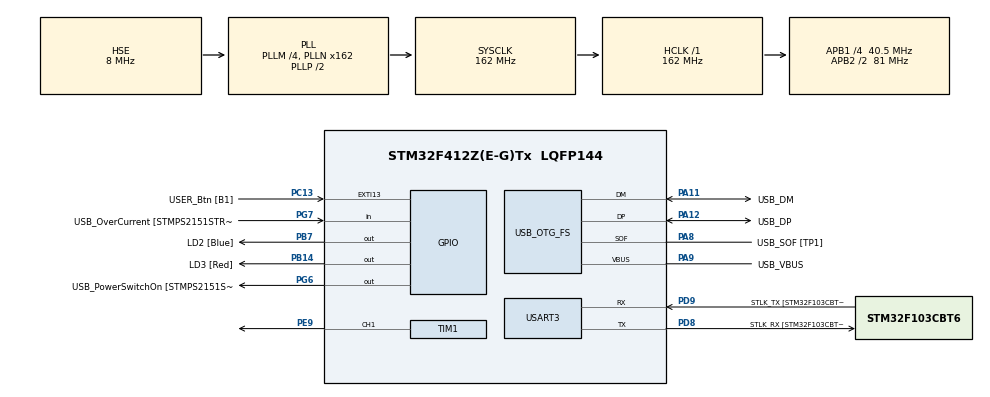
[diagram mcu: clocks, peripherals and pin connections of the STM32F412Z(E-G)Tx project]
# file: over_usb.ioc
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Mcu.Family=STM32F4
Mcu.Name=STM32F412Z(E-G)Tx
Mcu.Package=LQFP144
NVIC.OTG_FS_IRQn=true\:0\:0\:false\:false\:true\:false
NVIC.PriorityGroup=NVIC_PRIORITYGROUP_4
NVIC.TIM1_UP_TIM10_IRQn=true\:2\:0\:true\:false\:true\:true
PA10.GPIO_Label=USB_ID
PA10.Signal=USB_OTG_FS_ID
PA11.GPIO_Label=USB_DM
PA11.Mode=Device_Only
PA11.Signal=USB_OTG_FS_DM
PA12.GPIO_Label=USB_DP
PA12.Mode=Device_Only
PA12.Signal=USB_OTG_FS_DP
PA13.GPIO_Label=TMS
PA13.Mode=Serial_Wire
PA13.Signal=SYS_JTMS-SWDIO
PA14.GPIO_Label=TCK
PA14.Mode=Serial_Wire
PA14.Signal=SYS_JTCK-SWCLK
PA8.GPIO_Label=USB_SOF [TP1]
PA8.Mode=Activate_SOF_FS
PA8.Signal=USB_OTG_FS_SOF
PA9.GPIO_Label=USB_VBUS
PA9.Mode=Activate_VBUS
PA9.Signal=USB_OTG_FS_VBUS
PB14.GPIO_Label=LD3 [Red]
PB14.Signal=GPIO_Output
PB3.GPIO_Label=SWO
PB3.Signal=SYS_JTDO-SWO
PB7.GPIO_Label=LD2 [Blue]
PB7.Signal=GPIO_Output
PC13.GPIO_Label=USER_Btn [B1]
PC13.Signal=GPXTI13
PC14-OSC32_IN.Mode=LSE-External-Oscillator
PC14-OSC32_IN.Signal=RCC_OSC32_IN
PC15-OSC32_OUT.Mode=LSE-External-Oscillator
PC15-OSC32_OUT.Signal=RCC_OSC32_OUT
PD8.GPIO_Label=STLK_RX [STM32F103CBT6_PA3]
PD8.Mode=Asynchronous
PD8.Signal=USART3_TX
PD9.GPIO_Label=STLK_TX [STM32F103CBT6_PA2]
PD9.Mode=Asynchronous
PD9.Signal=USART3_RX
PE9.Signal=S_TIM1_CH1
PG6.GPIO_Label=USB_PowerSwitchOn [STMPS2151STR_EN]
PG6.Signal=GPIO_Output
PG7.GPIO_Label=USB_OverCurrent [STMPS2151STR_FAULT]
PG7.Signal=GPIO_Input
PH0\ -\ OSC_IN.GPIO_Label=MCO
PH0\ -\ OSC_IN.Mode=HSE-External-Clock-Source
PH0\ -\ OSC_IN.Signal=RCC_OSC_IN
PH1\ -\ OSC_OUT.Mode=HSE-External-Clock-Source
PH1\ -\ OSC_OUT.Signal=RCC_OSC_OUT
ProjectManager.HeapSize=0x600
ProjectManager.StackSize=0x800
ProjectManager.TargetToolchain=MDK-ARM V5
RCC.48MHZClocksFreq_Value=24000000
RCC.AHBFreq_Value=162000000
RCC.APB1CLKDivider=RCC_HCLK_DIV4
RCC.APB1Freq_Value=40500000
RCC.APB1TimFreq_Value=81000000
RCC.APB2CLKDivider=RCC_HCLK_DIV2
RCC.APB2Freq_Value=81000000
RCC.APB2TimFreq_Value=162000000
RCC.CortexFreq_Value=162000000
RCC.HCLKFreq_Value=162000000
RCC.HSE_VALUE=8000000
RCC.HSI_VALUE=16000000
RCC.PLLI2SM=4
RCC.PLLI2SN=72
RCC.PLLI2SQ=3
RCC.PLLM=4
RCC.PLLMUL=RCC_PLL_MUL9
RCC.PLLN=162
RCC.PLLQ=8
RCC.PLLSourceVirtual=RCC_PLLSOURCE_HSE
RCC.PRESCALERUSB=RCC_USBCLKSOURCE_PLL_DIV1_5
RCC.SYSCLKFreq_VALUE=162000000
RCC.SYSCLKSource=RCC_SYSCLKSOURCE_PLLCLK
RCC.SYSCLKSourceVirtual=RCC_SYSCLKSOURCE_PLLCLK
RCC.USBCLockSelection=RCC_CLK48CLKSOURCE_PLLI2SQ
RCC.USBFreq_Value=48000000
RCC.VCOOutputFreq_Value=324000000
SH.S_TIM1_CH1.0=TIM1_CH1,PWM Generation1 CH1
TIM1.Channel-PWM\ Generation1\ CH1=TIM_CHANNEL_1
TIM1.Period=4999
TIM1.Prescaler=16199
TIM1.Pulse-PWM\ Generation1\ CH1=2499
USART3.VirtualMode=VM_ASYNC
USB_DEVICE.CLASS_NAME_FS=CDC
USB_DEVICE.VirtualMode=Cdc
USB_DEVICE.VirtualModeFS=Cdc_FS
USB_OTG_FS.VirtualMode=Device_Only
VP_TIM1_VS_ClockSourceINT.Mode=Internal
VP_USB_DEVICE_VS_USB_DEVICE_CDC_FS.Mode=CDC_FS
board=NUCLEO-F412ZG

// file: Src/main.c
/**
  ******************************************************************************
  * @file           : main.c
  * @brief          : Main program body
  ******************************************************************************
  * This notice applies to any and all portions of this file
  * that are not between comment pairs USER CODE BEGIN and
  * USER CODE END. Other portions of this file, whether
  * inserted by the user or by software development tools
  * are owned by their respective copyright owners.
  *
  * Copyright (c) 2018 STMicroelectronics International N.V.
  * All rights reserved.
  *
  * Redistribution and use in source and binary forms, with or without
  * modification, are permitted, provided that the following conditions are met:
  *
  * 1. Redistribution of source code must retain the above copyright notice,
  *    this list of conditions and the following disclaimer.
  * 2. Redistributions in binary form must reproduce the above copyright notice,
  *    this list of conditions and the following disclaimer in the documentation
  *    and/or other materials provided with the distribution.
  * 3. Neither the name of STMicroelectronics nor the names of other
  *    contributors to this software may be used to endorse or promote products
  *    derived from this software without specific written permission.
  * 4. This software, including modifications and/or derivative works of this
  *    software, must execute solely and exclusively on microcontroller or
  *    microprocessor devices manufactured by or for STMicroelectronics.
  * 5. Redistribution and use of this software other than as permitted under
  *    this license is void and will automatically terminate your rights under
  *    this license.
  *
  * THIS SOFTWARE IS PROVIDED BY STMICROELECTRONICS AND CONTRIBUTORS "AS IS"
  * AND ANY EXPRESS, IMPLIED OR STATUTORY WARRANTIES, INCLUDING, BUT NOT
  * LIMITED TO, THE IMPLIED WARRANTIES OF MERCHANTABILITY, FITNESS FOR A
  * PARTICULAR PURPOSE AND NON-INFRINGEMENT OF THIRD PARTY INTELLECTUAL PROPERTY
  * RIGHTS ARE DISCLAIMED TO THE FULLEST EXTENT PERMITTED BY LAW. IN NO EVENT
  * SHALL STMICROELECTRONICS OR CONTRIBUTORS BE LIABLE FOR ANY DIRECT, INDIRECT,
  * INCIDENTAL, SPECIAL, EXEMPLARY, OR CONSEQUENTIAL DAMAGES (INCLUDING, BUT NOT
  * LIMITED TO, PROCUREMENT OF SUBSTITUTE GOODS OR SERVICES; LOSS OF USE, DATA,
  * OR PROFITS; OR BUSINESS INTERRUPTION) HOWEVER CAUSED AND ON ANY THEORY OF
  * LIABILITY, WHETHER IN CONTRACT, STRICT LIABILITY, OR TORT (INCLUDING
  * NEGLIGENCE OR OTHERWISE) ARISING IN ANY WAY OUT OF THE USE OF THIS SOFTWARE,
  * EVEN IF ADVISED OF THE POSSIBILITY OF SUCH DAMAGE.
  *
  ******************************************************************************
  */
#include "main.h"
#include "stm32f4xx_hal.h"
#include "usb_device.h"

/* USER CODE BEGIN Includes */
#include "string.h"
#include "usbd_cdc_if.h"
/* USER CODE END Includes */

TIM_HandleTypeDef htim1;

UART_HandleTypeDef huart3;

/* USER CODE BEGIN PV */
/* Private variables ---------------------------------------------------------*/

/* USER CODE END PV */

void SystemClock_Config(void);
static void MX_GPIO_Init(void);
static void MX_USART3_UART_Init(void);
static void MX_TIM1_Init(void);
void HAL_TIM_MspPostInit(TIM_HandleTypeDef *htim);

/* USER CODE BEGIN PFP */
/* Private function prototypes -----------------------------------------------*/

/* USER CODE END PFP */

/* USER CODE BEGIN 0 */
/*
#ifdef __GNUC__
 #define PUTCHAR_PROTOTYPE int __io_putchar(int ch)
#else
 #define PUTCHAR_PROTOTYPE int fputc(int ch, FILE *f)
#endif

PUTCHAR_PROTOTYPE
{
 HAL_UART_Transmit(&huart3, (uint8_t *)&ch, 1, 1);
 return ch;
}
*/
#ifdef __GNUC__
 #define PUTCHAR_PROTOTYPE int __io_putchar(int ch)
#else
 #define PUTCHAR_PROTOTYPE int fputc(int ch, FILE *f)
#endif

PUTCHAR_PROTOTYPE
{
 while(CDC_Transmit_FS((uint8_t *)&ch, 1) == USBD_BUSY);
 return ch;
}

void HAL_TIM_PeriodElapsedCallback(TIM_HandleTypeDef *htim)
{
  /* Prevent unused argument(s) compilation warning */
    if (htim->Instance == TIM1)
    {
            HAL_GPIO_TogglePin(LD2_GPIO_Port,LD2_Pin);
    }
/*    else if (htim->Instance == TIM2)
    {
    }
        */
}
/* USER CODE END 0 */

int main(void)
{

  /* MCU Configuration----------------------------------------------------------*/

  /* Reset of all peripherals, Initializes the Flash interface and the Systick. */
  HAL_Init();

  /* Configure the system clock */
  SystemClock_Config();

  /* Initialize all configured peripherals */
  MX_GPIO_Init();
  MX_USART3_UART_Init();
  MX_USB_DEVICE_Init();
  MX_TIM1_Init();
  /* USER CODE BEGIN 2 */
  HAL_TIM_Base_Start_IT(&htim1);

  /* USER CODE END 2 */

  /* Infinite loop */
  /* USER CODE BEGIN WHILE */
  while (1)
  {
        printf("hclk 162MHz USB CDC Test\r\n");
        HAL_Delay(500);

  /* USER CODE END WHILE */

  }

}

void SystemClock_Config(void)
{

  RCC_OscInitTypeDef RCC_OscInitStruct;
  RCC_ClkInitTypeDef RCC_ClkInitStruct;
  RCC_PeriphCLKInitTypeDef PeriphClkInitStruct;

    /**Configure the main internal regulator output voltage
    */
  __HAL_RCC_PWR_CLK_ENABLE();

  __HAL_PWR_VOLTAGESCALING_CONFIG(PWR_REGULATOR_VOLTAGE_SCALE1);

    /**Initializes the CPU, AHB and APB busses clocks
    */
  RCC_OscInitStruct.OscillatorType = RCC_OSCILLATORTYPE_HSE;
  RCC_OscInitStruct.HSEState = RCC_HSE_BYPASS;
  RCC_OscInitStruct.PLL.PLLState = RCC_PLL_ON;
  RCC_OscInitStruct.PLL.PLLSource = RCC_PLLSOURCE_HSE;
  RCC_OscInitStruct.PLL.PLLM = 4;
  RCC_OscInitStruct.PLL.PLLN = 162;
  RCC_OscInitStruct.PLL.PLLP = RCC_PLLP_DIV2;
  RCC_OscInitStruct.PLL.PLLQ = 8;
  RCC_OscInitStruct.PLL.PLLR = 2;
  if (HAL_RCC_OscConfig(&RCC_OscInitStruct) != HAL_OK)
  {
    _Error_Handler(__FILE__, __LINE__);
  }

    /**Initializes the CPU, AHB and APB busses clocks
    */
  RCC_ClkInitStruct.ClockType = RCC_CLOCKTYPE_HCLK|RCC_CLOCKTYPE_SYSCLK
                              |RCC_CLOCKTYPE_PCLK1|RCC_CLOCKTYPE_PCLK2;
  RCC_ClkInitStruct.SYSCLKSource = RCC_SYSCLKSOURCE_PLLCLK;
  RCC_ClkInitStruct.AHBCLKDivider = RCC_SYSCLK_DIV1;
  RCC_ClkInitStruct.APB1CLKDivider = RCC_HCLK_DIV4;
  RCC_ClkInitStruct.APB2CLKDivider = RCC_HCLK_DIV2;

  if (HAL_RCC_ClockConfig(&RCC_ClkInitStruct, FLASH_LATENCY_3) != HAL_OK)
  {
    _Error_Handler(__FILE__, __LINE__);
  }

  PeriphClkInitStruct.PeriphClockSelection = RCC_PERIPHCLK_CLK48;
  PeriphClkInitStruct.PLLI2S.PLLI2SN = 72;
  PeriphClkInitStruct.PLLI2S.PLLI2SM = 4;
  PeriphClkInitStruct.PLLI2S.PLLI2SR = 2;
  PeriphClkInitStruct.PLLI2S.PLLI2SQ = 3;
  PeriphClkInitStruct.Clk48ClockSelection = RCC_CLK48CLKSOURCE_PLLI2SQ;
  PeriphClkInitStruct.PLLI2SSelection = RCC_PLLI2SCLKSOURCE_PLLSRC;
  if (HAL_RCCEx_PeriphCLKConfig(&PeriphClkInitStruct) != HAL_OK)
  {
    _Error_Handler(__FILE__, __LINE__);
  }

    /**Configure the Systick interrupt time
    */
  HAL_SYSTICK_Config(HAL_RCC_GetHCLKFreq()/1000);

    /**Configure the Systick
    */
  HAL_SYSTICK_CLKSourceConfig(SYSTICK_CLKSOURCE_HCLK);

  /* SysTick_IRQn interrupt configuration */
  HAL_NVIC_SetPriority(SysTick_IRQn, 0, 0);
}

/* TIM1 init function */
static void MX_TIM1_Init(void)
{

  TIM_ClockConfigTypeDef sClockSourceConfig;
  TIM_MasterConfigTypeDef sMasterConfig;
  TIM_OC_InitTypeDef sConfigOC;
  TIM_BreakDeadTimeConfigTypeDef sBreakDeadTimeConfig;

  htim1.Instance = TIM1;
  htim1.Init.Prescaler = 16199;
  htim1.Init.CounterMode = TIM_COUNTERMODE_UP;
  htim1.Init.Period = 4999;
  htim1.Init.ClockDivision = TIM_CLOCKDIVISION_DIV1;
  htim1.Init.RepetitionCounter = 0;
  if (HAL_TIM_Base_Init(&htim1) != HAL_OK)
  {
    _Error_Handler(__FILE__, __LINE__);
  }

  sClockSourceConfig.ClockSource = TIM_CLOCKSOURCE_INTERNAL;
  if (HAL_TIM_ConfigClockSource(&htim1, &sClockSourceConfig) != HAL_OK)
  {
    _Error_Handler(__FILE__, __LINE__);
  }

  if (HAL_TIM_PWM_Init(&htim1) != HAL_OK)
  {
    _Error_Handler(__FILE__, __LINE__);
  }

  sMasterConfig.MasterOutputTrigger = TIM_TRGO_RESET;
  sMasterConfig.MasterSlaveMode = TIM_MASTERSLAVEMODE_DISABLE;
  if (HAL_TIMEx_MasterConfigSynchronization(&htim1, &sMasterConfig) != HAL_OK)
  {
    _Error_Handler(__FILE__, __LINE__);
  }

  sConfigOC.OCMode = TIM_OCMODE_PWM1;
  sConfigOC.Pulse = 2499;
  sConfigOC.OCPolarity = TIM_OCPOLARITY_HIGH;
  sConfigOC.OCNPolarity = TIM_OCNPOLARITY_HIGH;
  sConfigOC.OCFastMode = TIM_OCFAST_DISABLE;
  sConfigOC.OCIdleState = TIM_OCIDLESTATE_RESET;
  sConfigOC.OCNIdleState = TIM_OCNIDLESTATE_RESET;
  if (HAL_TIM_PWM_ConfigChannel(&htim1, &sConfigOC, TIM_CHANNEL_1) != HAL_OK)
  {
    _Error_Handler(__FILE__, __LINE__);
  }

  sBreakDeadTimeConfig.OffStateRunMode = TIM_OSSR_DISABLE;
  sBreakDeadTimeConfig.OffStateIDLEMode = TIM_OSSI_DISABLE;
  sBreakDeadTimeConfig.LockLevel = TIM_LOCKLEVEL_OFF;
  sBreakDeadTimeConfig.DeadTime = 0;
  sBreakDeadTimeConfig.BreakState = TIM_BREAK_DISABLE;
  sBreakDeadTimeConfig.BreakPolarity = TIM_BREAKPOLARITY_HIGH;
  sBreakDeadTimeConfig.AutomaticOutput = TIM_AUTOMATICOUTPUT_DISABLE;
  if (HAL_TIMEx_ConfigBreakDeadTime(&htim1, &sBreakDeadTimeConfig) != HAL_OK)
  {
    _Error_Handler(__FILE__, __LINE__);
  }

  HAL_TIM_MspPostInit(&htim1);

}

/* USART3 init function */
static void MX_USART3_UART_Init(void)
{

  huart3.Instance = USART3;
  huart3.Init.BaudRate = 115200;
  huart3.Init.WordLength = UART_WORDLENGTH_8B;
  huart3.Init.StopBits = UART_STOPBITS_1;
  huart3.Init.Parity = UART_PARITY_NONE;
  huart3.Init.Mode = UART_MODE_TX_RX;
  huart3.Init.HwFlowCtl = UART_HWCONTROL_NONE;
  huart3.Init.OverSampling = UART_OVERSAMPLING_16;
  if (HAL_UART_Init(&huart3) != HAL_OK)
  {
    _Error_Handler(__FILE__, __LINE__);
  }

}

/** Configure pins as
        * Analog
        * Input
        * Output
        * EVENT_OUT
        * EXTI
*/
static void MX_GPIO_Init(void)
{

  GPIO_InitTypeDef GPIO_InitStruct;

  /* GPIO Ports Clock Enable */
  __HAL_RCC_GPIOC_CLK_ENABLE();
  __HAL_RCC_GPIOH_CLK_ENABLE();
  __HAL_RCC_GPIOE_CLK_ENABLE();
  __HAL_RCC_GPIOB_CLK_ENABLE();
  __HAL_RCC_GPIOD_CLK_ENABLE();
  __HAL_RCC_GPIOG_CLK_ENABLE();
  __HAL_RCC_GPIOA_CLK_ENABLE();

  /*Configure GPIO pin Output Level */
  HAL_GPIO_WritePin(GPIOB, LD3_Pin|LD2_Pin, GPIO_PIN_RESET);

  /*Configure GPIO pin Output Level */
  HAL_GPIO_WritePin(USB_PowerSwitchOn_GPIO_Port, USB_PowerSwitchOn_Pin, GPIO_PIN_RESET);

  /*Configure GPIO pin : USER_Btn_Pin */
  GPIO_InitStruct.Pin = USER_Btn_Pin;
  GPIO_InitStruct.Mode = GPIO_MODE_IT_RISING;
  GPIO_InitStruct.Pull = GPIO_NOPULL;
  HAL_GPIO_Init(USER_Btn_GPIO_Port, &GPIO_InitStruct);

  /*Configure GPIO pins : LD3_Pin LD2_Pin */
  GPIO_InitStruct.Pin = LD3_Pin|LD2_Pin;
  GPIO_InitStruct.Mode = GPIO_MODE_OUTPUT_PP;
  GPIO_InitStruct.Pull = GPIO_NOPULL;
  GPIO_InitStruct.Speed = GPIO_SPEED_FREQ_LOW;
  HAL_GPIO_Init(GPIOB, &GPIO_InitStruct);

  /*Configure GPIO pin : USB_PowerSwitchOn_Pin */
  GPIO_InitStruct.Pin = USB_PowerSwitchOn_Pin;
  GPIO_InitStruct.Mode = GPIO_MODE_OUTPUT_PP;
  GPIO_InitStruct.Pull = GPIO_NOPULL;
  GPIO_InitStruct.Speed = GPIO_SPEED_FREQ_LOW;
  HAL_GPIO_Init(USB_PowerSwitchOn_GPIO_Port, &GPIO_InitStruct);

  /*Configure GPIO pin : USB_OverCurrent_Pin */
  GPIO_InitStruct.Pin = USB_OverCurrent_Pin;
  GPIO_InitStruct.Mode = GPIO_MODE_INPUT;
  GPIO_InitStruct.Pull = GPIO_NOPULL;
  HAL_GPIO_Init(USB_OverCurrent_GPIO_Port, &GPIO_InitStruct);

}

void _Error_Handler(char *file, int line)
{
  while(1)
  {
  }
}

/************************ (C) COPYRIGHT STMicroelectronics *****END OF FILE****/
